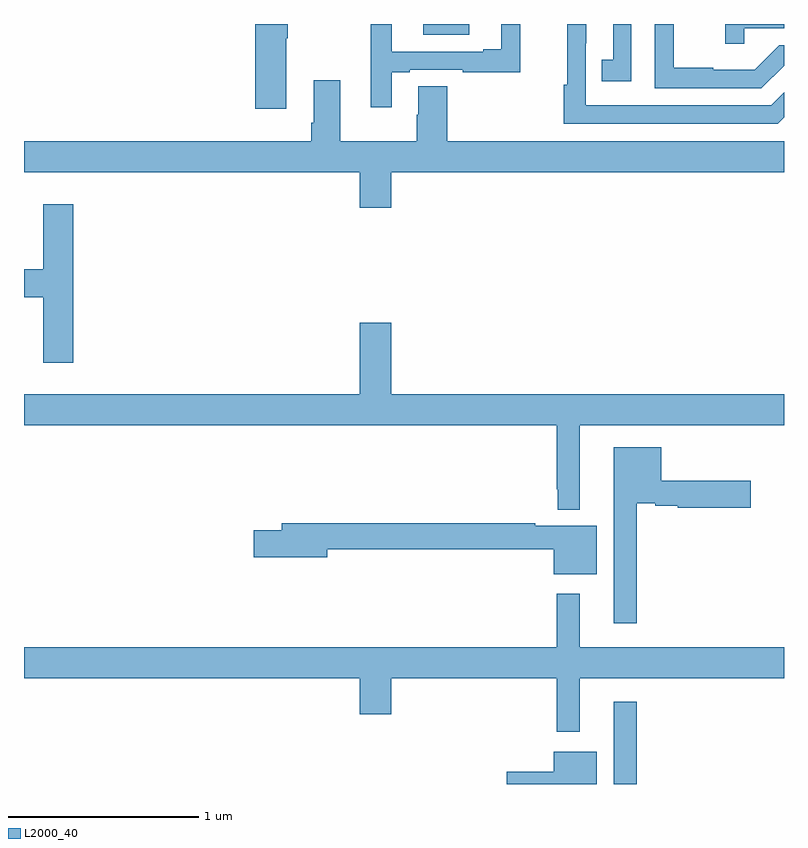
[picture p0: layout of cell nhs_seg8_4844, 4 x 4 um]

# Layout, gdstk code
import gdstk
lib = gdstk.Library(unit=1e-6, precision=1e-09)
def R(c, l, rs):  # rectangles x0, y0, x1, y1
    for r in rs: c.add(gdstk.rectangle(r[:2], r[2:], *l))
def P(c, l, *ps):  # polygons
    for p in ps: c.add(gdstk.Polygon(p, *l))
L2000_40 = (2000, 40)

nhs_seg8_4844 = lib.new_cell('nhs_seg8_4844')
R(nhs_seg8_4844, L2000_40, [(406.103,1159.9,406.225,1160.332), (405.101,1163.843,405.343,1163.9)])
P(nhs_seg8_4844, L2000_40, [(407,1163.681),(407,1163.787),(406.974,1163.787),(406.846,1163.659),(406.628,1163.659),(406.628,1163.671),(406.421,1163.671),(406.421,1163.9),(406.32,1163.9),(406.32,1163.562),(406.881,1163.562)],
  [(406.197,1163.9),(406.1,1163.9),(406.1,1163.711),(406.042,1163.711),(406.042,1163.598),(406.197,1163.598)],
  [(404.935,1163.646),(405.031,1163.646),(405.031,1163.658),(405.31,1163.658),(405.31,1163.646),(405.612,1163.646),(405.612,1163.9),(405.512,1163.9),(405.512,1163.767),(405.416,1163.767),(405.416,1163.754),(404.935,1163.754),(404.935,1163.9),(404.826,1163.9),(404.826,1163.707),(404.825,1163.707),(404.825,1163.463),(404.935,1163.463)],
  [(406.791,1163.877),(407,1163.877),(407,1163.9),(406.69,1163.9),(406.69,1163.796),(406.791,1163.796)],
  [(407,1163.408),(407,1163.54),(406.932,1163.472),(405.957,1163.472),(405.957,1163.8),(405.958,1163.8),(405.958,1163.9),(405.859,1163.9),(405.859,1163.579),(405.841,1163.579),(405.841,1163.376),(406.968,1163.376)],
  [(404.38,1163.825),(404.388,1163.825),(404.388,1163.9),(404.216,1163.9),(404.216,1163.454),(404.38,1163.454)],
  [(404.932,1163.12),(407,1163.12),(407,1163.284),(405.227,1163.284),(405.227,1163.573),(405.074,1163.573),(405.074,1163.423),(405.067,1163.423),(405.067,1163.284),(404.665,1163.284),(404.665,1163.605),(404.525,1163.605),(404.525,1163.38),(404.513,1163.38),(404.513,1163.284),(403,1163.284),(403,1163.12),(404.768,1163.12),(404.768,1162.932),(404.932,1162.932)],
  [(403.259,1162.951),(403.1,1162.951),(403.1,1162.61),(403,1162.61),(403,1162.463),(403.1,1162.463),(403.1,1162.116),(403.259,1162.116)],
  [(405.925,1161.788),(407,1161.788),(407,1161.952),(404.932,1161.952),(404.932,1162.327),(404.768,1162.327),(404.768,1161.952),(403,1161.952),(403,1161.788),(405.804,1161.788),(405.804,1161.451),(405.81,1161.451),(405.81,1161.344),(405.925,1161.344)],
  [(406.225,1161.377),(406.322,1161.377),(406.322,1161.365),(406.44,1161.365),(406.44,1161.353),(406.825,1161.353),(406.825,1161.495),(406.354,1161.495),(406.354,1161.673),(406.103,1161.673),(406.103,1160.745),(406.225,1160.745)],
  [(406.015,1161.259),(405.692,1161.259),(405.692,1161.272),(404.357,1161.272),(404.357,1161.236),(404.208,1161.236),(404.208,1161.094),(404.596,1161.094),(404.596,1161.136),(405.788,1161.136),(405.788,1161.005),(406.015,1161.005)],
  [(405.925,1160.456),(407,1160.456),(407,1160.62),(405.925,1160.62),(405.925,1160.902),(405.804,1160.902),(405.804,1160.62),(403,1160.62),(403,1160.456),(404.768,1160.456),(404.768,1160.268),(404.932,1160.268),(404.932,1160.456),(405.804,1160.456),(405.804,1160.175),(405.925,1160.175)],
  [(406.015,1160.071),(405.788,1160.071),(405.788,1159.965),(405.54,1159.965),(405.54,1159.9),(406.015,1159.9)])

lib.write_gds('nhs_seg8_4844.gds')
